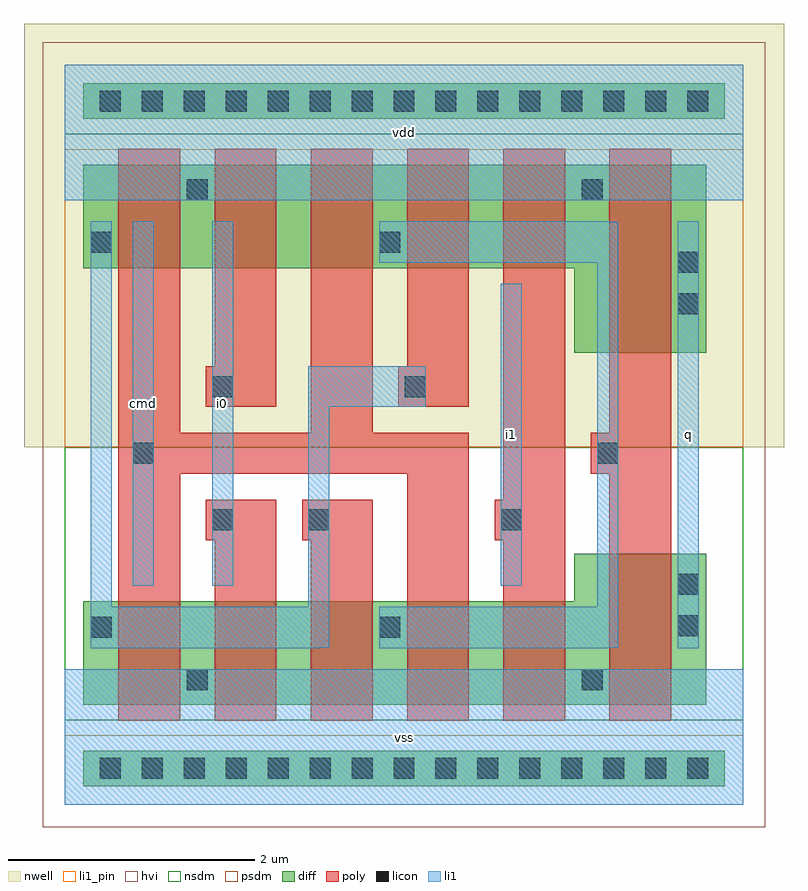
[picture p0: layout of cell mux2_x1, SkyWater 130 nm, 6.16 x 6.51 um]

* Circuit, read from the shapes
.subckt mux2_x1 cmd i0 i1 q vdd vss
XM1 vss cmd n1 VSUBS sky130_fd_pr__nfet_g5v0d10v5 w=0.84 l=0.5
XM2 n2 i0 vss VSUBS sky130_fd_pr__nfet_g5v0d10v5 w=0.84 l=0.5
XM3 n3 n1 n2 VSUBS sky130_fd_pr__nfet_g5v0d10v5 w=0.84 l=0.5
XM4 n4 cmd n3 VSUBS sky130_fd_pr__nfet_g5v0d10v5 w=0.84 l=0.5
XM5 vss i1 n4 VSUBS sky130_fd_pr__nfet_g5v0d10v5 w=0.84 l=0.5
XM6 q n3 vss VSUBS sky130_fd_pr__nfet_g5v0d10v5 w=1.225 l=0.5
XM7 vdd cmd n1 n5 sky130_fd_pr__pfet_g5v0d10v5 w=0.84 l=0.5
XM8 n6 i0 vdd n5 sky130_fd_pr__pfet_g5v0d10v5 w=0.84 l=0.5
XM9 n3 cmd n6 n5 sky130_fd_pr__pfet_g5v0d10v5 w=0.84 l=0.5
XM10 n7 n1 n3 n5 sky130_fd_pr__pfet_g5v0d10v5 w=0.84 l=0.5
XM11 vdd i1 n7 n5 sky130_fd_pr__pfet_g5v0d10v5 w=0.84 l=0.5
XM12 q n3 vdd n5 sky130_fd_pr__pfet_g5v0d10v5 w=1.525 l=0.5
.ends

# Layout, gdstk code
import gdstk
lib = gdstk.Library(unit=1e-6, precision=1e-09)
def R(c, l, rs):  # rectangles x0, y0, x1, y1
    for r in rs: c.add(gdstk.rectangle(r[:2], r[2:], *l))
def A(c, l, x, y, w, h, nx, ny, dx, dy):  # array of equal rectangles
    R(c, l, [(x+i*dx, y+j*dy, x+i*dx+w, y+j*dy+h) for i in range(nx) for j in range(ny)])
def P(c, l, *ps):  # polygons
    for p in ps: c.add(gdstk.Polygon(p, *l))
nwell = (64, 20)
diff = (65, 20)
poly = (66, 20)
licon = (66, 44)
li1_pin = (67, 16)
li1 = (67, 20)
hvi = (75, 20)
nsdm = (93, 44)
psdm = (94, 20)

mux2_x1 = lib.new_cell('mux2_x1')
R(mux2_x1, nwell, [(-0.33,2.9,5.83,6.33)])
R(mux2_x1, diff, [(0.15,0.15,5.35,0.44), (0.15,5.56,5.35,5.85)])
P(mux2_x1, diff, [(4.13,3.665),(4.13,4.35),(0.15,4.35),(0.15,5.19),(5.2,5.19),(5.2,3.665)],
  [(0.15,0.81),(0.15,1.65),(4.13,1.65),(4.13,2.035),(5.2,2.035),(5.2,0.81)])
P(mux2_x1, poly, [(1.995,0.68),(1.995,2.145),(1.925,2.145),(1.925,2.475),(2.495,2.475),(2.495,0.68)],
  [(2.705,3.225),(2.705,3.555),(2.775,3.555),(2.775,5.32),(3.275,5.32),(3.275,3.225)],
  [(0.435,0.68),(0.435,5.32),(0.935,5.32),(0.935,3.015),(1.995,3.015),(1.995,5.32),(2.495,5.32),(2.495,3.015),(3.275,3.015),(3.275,0.68),(2.775,0.68),(2.775,2.685),(0.935,2.685),(0.935,0.68)],
  [(1.145,3.225),(1.145,3.555),(1.215,3.555),(1.215,5.32),(1.715,5.32),(1.715,3.225)],
  [(1.215,0.68),(1.215,2.145),(1.145,2.145),(1.145,2.475),(1.715,2.475),(1.715,0.68)],
  [(4.415,0.68),(4.415,2.685),(4.265,2.685),(4.265,3.015),(4.415,3.015),(4.415,5.32),(4.915,5.32),(4.915,0.68)],
  [(3.555,0.68),(3.555,2.145),(3.485,2.145),(3.485,2.475),(3.555,2.475),(3.555,5.32),(4.055,5.32),(4.055,0.68)])
A(mux2_x1, licon, 0.285, 0.21, 0.17, 0.17, 15, 2, 0.34, 5.41)
R(mux2_x1, licon, [(0.99,0.93,1.16,1.1), (4.19,0.93,4.36,1.1), (0.21,1.355,0.38,1.525), (2.55,1.355,2.72,1.525), (4.97,1.365,5.14,1.535), (4.97,1.705,5.14,1.875), (1.195,2.225,1.365,2.395), (1.975,2.225,2.145,2.395), (3.535,2.225,3.705,2.395), (0.55,2.765,0.72,2.935), (4.315,2.765,4.485,2.935), (1.195,3.305,1.365,3.475), (2.755,3.305,2.925,3.475), (4.97,3.975,5.14,4.145), (4.97,4.315,5.14,4.485), (0.21,4.475,0.38,4.645), (2.55,4.475,2.72,4.645), (0.99,4.9,1.16,5.07), (4.19,4.9,4.36,5.07)])
R(mux2_x1, li1_pin, [(0,0,5.5,1.1), (4.97,1.27,5.14,4.73), (0.55,1.775,0.72,4.73), (1.195,1.775,1.365,4.73), (3.535,1.775,3.705,4.225), (0,4.9,5.5,6)])
R(mux2_x1, li1, [(0,0,5.5,1.1), (4.97,1.27,5.14,4.73), (0.55,1.775,0.72,4.73), (1.195,1.775,1.365,4.73), (3.535,1.775,3.705,4.225), (0,4.9,5.5,6)])
P(mux2_x1, li1, [(0.21,1.27),(0.21,4.73),(0.38,4.73),(0.38,1.605),(1.975,1.605),(1.975,3.555),(2.925,3.555),(2.925,3.225),(2.145,3.225),(2.145,1.275),(2.06,1.275),(2.06,1.27)],
  [(2.55,1.27),(2.55,1.605),(4.315,1.605),(4.315,4.395),(2.55,4.395),(2.55,4.73),(4.4,4.73),(4.4,4.725),(4.485,4.725),(4.485,1.275),(4.4,1.275),(4.4,1.27)])
R(mux2_x1, hvi, [(-0.18,-0.18,5.68,6.18)])
R(mux2_x1, nsdm, [(0,0.685,5.5,2.9), (0,5.435,5.5,6)])
R(mux2_x1, psdm, [(0,0,5.5,0.565), (0,2.9,5.5,5.315)])
mux2_x1.add(gdstk.Label('vdd', (2.75,5.45), layer=67, texttype=16))
mux2_x1.add(gdstk.Label('vss', (2.75,0.55), layer=67, texttype=16))
mux2_x1.add(gdstk.Label('cmd', (0.635,3.253), layer=67, texttype=16))
mux2_x1.add(gdstk.Label('i0', (1.28,3.253), layer=67, texttype=16))
mux2_x1.add(gdstk.Label('i1', (3.62,3), layer=67, texttype=16))
mux2_x1.add(gdstk.Label('q', (5.055,3), layer=67, texttype=16))

lib.write_gds('mux2_x1.gds')
